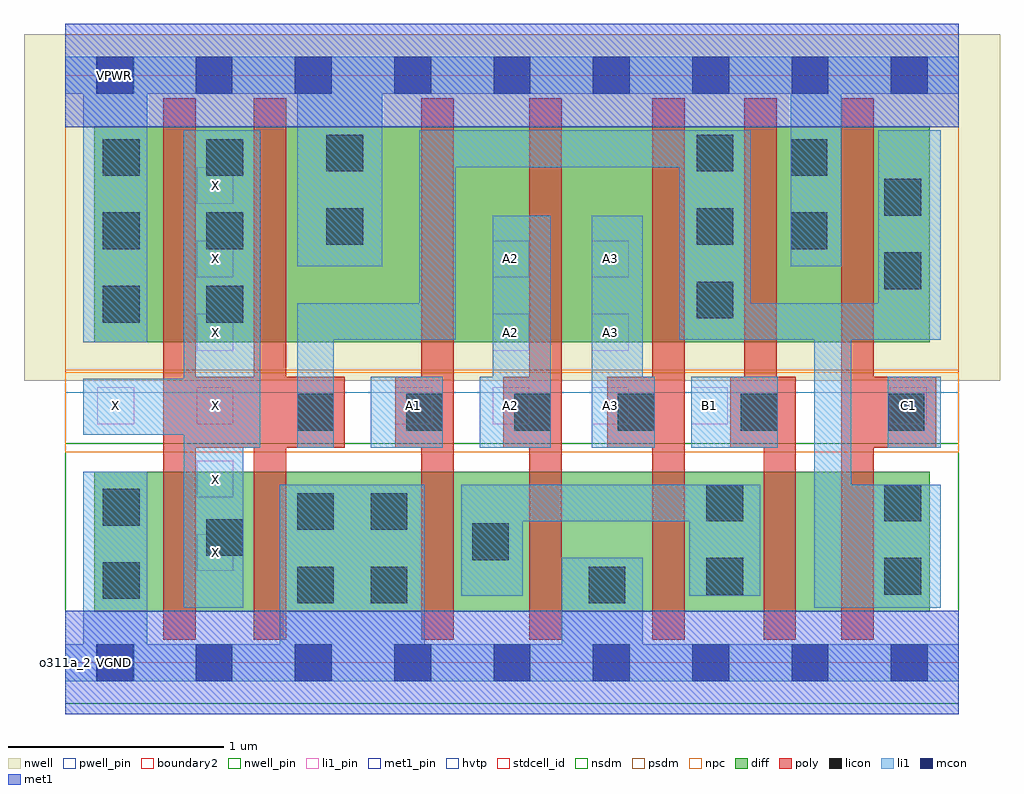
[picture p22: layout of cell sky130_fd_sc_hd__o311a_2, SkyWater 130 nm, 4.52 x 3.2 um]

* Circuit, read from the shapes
.subckt sky130_fd_sc_hd__o311a_2 A1 A2 A3 B1 C1 VGND VNB VPB VPWR X
XM1 X n1 VGND VNB sky130_fd_pr__nfet_01v8 w=0.65 l=0.15 m=2
XM2 n2 A1 VGND VNB sky130_fd_pr__nfet_01v8 w=0.65 l=0.15
XM3 VGND A2 n2 VNB sky130_fd_pr__nfet_01v8 w=0.65 l=0.15
XM4 n2 A3 VGND VNB sky130_fd_pr__nfet_01v8 w=0.65 l=0.15
XM5 n3 B1 n2 VNB sky130_fd_pr__nfet_01v8 w=0.65 l=0.15
XM6 n1 C1 n3 VNB sky130_fd_pr__nfet_01v8 w=0.65 l=0.15
XM7 X n1 VPWR VPB sky130_fd_pr__pfet_01v8_hvt w=1 l=0.15 m=2
XM8 n4 A1 VPWR VPB sky130_fd_pr__pfet_01v8_hvt w=1 l=0.15
XM9 n5 A2 n4 VPB sky130_fd_pr__pfet_01v8_hvt w=1 l=0.15
XM10 n1 A3 n5 VPB sky130_fd_pr__pfet_01v8_hvt w=1 l=0.15
XM11 VPWR B1 n1 VPB sky130_fd_pr__pfet_01v8_hvt w=1 l=0.15
XM12 n1 C1 VPWR VPB sky130_fd_pr__pfet_01v8_hvt w=1 l=0.15
.ends

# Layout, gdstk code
import gdstk
lib = gdstk.Library(unit=1e-6, precision=1e-09)
def R(c, l, rs):  # rectangles x0, y0, x1, y1
    for r in rs: c.add(gdstk.rectangle(r[:2], r[2:], *l))
def A(c, l, x, y, w, h, nx, ny, dx, dy):  # array of equal rectangles
    R(c, l, [(x+i*dx, y+j*dy, x+i*dx+w, y+j*dy+h) for i in range(nx) for j in range(ny)])
def P(c, l, *ps):  # polygons
    for p in ps: c.add(gdstk.Polygon(p, *l))
nwell_pin = (64, 16)
nwell = (64, 20)
diff = (65, 20)
poly = (66, 20)
licon = (66, 44)
li1_pin = (67, 16)
li1 = (67, 20)
mcon = (67, 44)
met1_pin = (68, 16)
met1 = (68, 20)
hvtp = (78, 44)
stdcell_id = (81, 4)
nsdm = (93, 44)
psdm = (94, 20)
npc = (95, 20)
pwell_pin = (122, 16)
boundary2 = (236, 0)

sky130_fd_sc_hd__o311a_2 = lib.new_cell('sky130_fd_sc_hd__o311a_2')
R(sky130_fd_sc_hd__o311a_2, nwell_pin, [(0.15,2.635,0.32,2.805)])
R(sky130_fd_sc_hd__o311a_2, nwell, [(-0.19,1.305,4.33,2.91)])
R(sky130_fd_sc_hd__o311a_2, diff, [(0.135,0.235,4.005,0.885), (0.135,1.485,4.005,2.485)])
P(sky130_fd_sc_hd__o311a_2, poly, [(1.295,1.325),(1.025,1.325),(1.025,2.615),(0.875,2.615),(0.875,1.325),(0.605,1.325),(0.605,2.615),(0.455,2.615),(0.455,0.105),(0.605,0.105),(0.605,0.995),(0.875,0.995),(0.875,0.105),(1.025,0.105),(1.025,0.995),(1.295,0.995)],
  [(1.8,2.615),(1.65,2.615),(1.65,1.325),(1.53,1.325),(1.53,0.995),(1.65,0.995),(1.65,0.105),(1.8,0.105)],
  [(2.3,2.615),(2.15,2.615),(2.15,1.325),(2.03,1.325),(2.03,0.995),(2.15,0.995),(2.15,0.105),(2.3,0.105)],
  [(2.87,2.615),(2.72,2.615),(2.72,1.325),(2.51,1.325),(2.51,0.995),(2.72,0.995),(2.72,0.105),(2.87,0.105)],
  [(3.385,1.325),(3.295,1.325),(3.295,2.615),(3.145,2.615),(3.145,1.325),(3.08,1.325),(3.08,0.995),(3.235,0.995),(3.235,0.105),(3.385,0.105)],
  [(4.035,1.325),(3.745,1.325),(3.745,2.615),(3.595,2.615),(3.595,0.105),(3.745,0.105),(3.745,0.995),(4.035,0.995)])
A(sky130_fd_sc_hd__o311a_2, licon, 0.175, 1.575, 0.17, 0.17, 1, 3, 0, 0.34)
A(sky130_fd_sc_hd__o311a_2, licon, 0.655, 1.575, 0.17, 0.17, 1, 3, 0, 0.34)
A(sky130_fd_sc_hd__o311a_2, licon, 2.925, 1.595, 0.17, 0.17, 1, 3, 0, 0.34)
R(sky130_fd_sc_hd__o311a_2, licon, [(1.075,0.275,1.245,0.445), (1.415,0.275,1.585,0.445), (2.425,0.275,2.595,0.445), (0.175,0.295,0.345,0.465), (2.97,0.315,3.14,0.485), (3.795,0.315,3.965,0.485), (1.885,0.475,2.055,0.645), (0.655,0.495,0.825,0.665), (1.075,0.615,1.245,0.785), (1.415,0.615,1.585,0.785), (0.175,0.635,0.345,0.805), (2.97,0.655,3.14,0.825), (3.795,0.655,3.965,0.825), (1.075,1.075,1.245,1.245), (1.58,1.075,1.75,1.245), (2.08,1.075,2.25,1.245), (2.56,1.075,2.73,1.245), (3.13,1.075,3.3,1.245), (3.81,1.075,3.98,1.245), (3.795,1.73,3.965,1.9), (3.36,1.915,3.53,2.085), (1.21,1.935,1.38,2.105), (3.795,2.07,3.965,2.24), (3.36,2.255,3.53,2.425), (1.21,2.275,1.38,2.445)])
A(sky130_fd_sc_hd__o311a_2, li1_pin, 0.61, 0.425, 0.17, 0.17, 1, 6, 0, 0.34)
A(sky130_fd_sc_hd__o311a_2, li1_pin, 1.98, 1.105, 0.17, 0.17, 3, 1, 0.46, 0)
R(sky130_fd_sc_hd__o311a_2, li1_pin, [(0.15,1.105,0.32,1.275), (1.53,1.105,1.7,1.275), (3.82,1.105,3.99,1.275), (1.98,1.445,2.15,1.615), (2.44,1.445,2.61,1.615), (1.98,1.785,2.15,1.955), (2.44,1.785,2.61,1.955)])
R(sky130_fd_sc_hd__o311a_2, li1, [(1.415,0.995,1.75,1.325), (2.9,0.995,3.3,1.325), (3.81,0.995,4.055,1.325)])
P(sky130_fd_sc_hd__o311a_2, li1, [(4.055,0.825),(3.64,0.825),(3.64,1.495),(4.055,1.495),(4.055,2.465),(3.765,2.465),(3.765,1.665),(3.175,1.665),(3.175,2.465),(1.64,2.465),(1.64,1.665),(1.075,1.665),(1.075,0.995),(1.245,0.995),(1.245,1.495),(1.81,1.495),(1.81,2.295),(2.845,2.295),(2.845,1.495),(3.47,1.495),(3.47,0.255),(4.055,0.255)],
  [(0.905,2.465),(0.55,2.465),(0.55,1.315),(0.085,1.315),(0.085,1.055),(0.55,1.055),(0.55,0.255),(0.825,0.255),(0.825,0.995),(0.905,0.995)],
  [(2.25,2.07),(1.98,2.07),(1.98,1.325),(1.92,1.325),(1.92,0.995),(2.25,0.995)],
  [(2.73,1.325),(2.675,1.325),(2.675,2.07),(2.44,2.07),(2.44,0.995),(2.73,0.995)],
  [(3.22,0.825),(1.835,0.825),(1.835,0.31),(2.12,0.31),(2.12,0.655),(2.89,0.655),(2.89,0.31),(3.22,0.31)],
  [(4.14,2.805),(0,2.805),(0,2.635),(0.085,2.635),(0.085,1.485),(0.38,1.485),(0.38,2.635),(1.075,2.635),(1.075,1.835),(1.47,1.835),(1.47,2.635),(3.36,2.635),(3.36,1.835),(3.595,1.835),(3.595,2.635),(4.14,2.635)],
  [(4.14,0.085),(2.675,0.085),(2.675,0.485),(2.3,0.485),(2.3,0.085),(1.665,0.085),(1.665,0.825),(0.995,0.825),(0.995,0.085),(0.38,0.085),(0.38,0.885),(0.085,0.885),(0.085,0.085),(0,0.085),(0,-0.085),(4.14,-0.085)])
A(sky130_fd_sc_hd__o311a_2, mcon, 0.145, -0.085, 0.17, 0.17, 9, 2, 0.46, 2.72)
R(sky130_fd_sc_hd__o311a_2, met1_pin, [(0.15,-0.085,0.32,0.085), (0.15,2.635,0.32,2.805)])
R(sky130_fd_sc_hd__o311a_2, hvtp, [(0,1.25,4.14,2.72)])
R(sky130_fd_sc_hd__o311a_2, stdcell_id, [(0,0,4.14,2.72)])
R(sky130_fd_sc_hd__o311a_2, nsdm, [(0,-0.19,4.14,1.015)])
R(sky130_fd_sc_hd__o311a_2, psdm, [(0,1.355,4.14,2.91)])
R(sky130_fd_sc_hd__o311a_2, npc, [(0,0.975,4.14,1.345)])
R(sky130_fd_sc_hd__o311a_2, pwell_pin, [(0.15,-0.085,0.32,0.085)])
R(sky130_fd_sc_hd__o311a_2, boundary2, [(0,0,4.14,2.72)])
sky130_fd_sc_hd__o311a_2.add(gdstk.FlexPath([(0,0),(4.14,0)], 0.48, ends="flush", simple_path=True, layer=68, datatype=20))  # met1
sky130_fd_sc_hd__o311a_2.add(gdstk.FlexPath([(0,2.72),(4.14,2.72)], 0.48, ends="flush", simple_path=True, layer=68, datatype=20))  # met1
sky130_fd_sc_hd__o311a_2.add(gdstk.Label('X', (0.695,1.87), layer=67, texttype=5))
sky130_fd_sc_hd__o311a_2.add(gdstk.Label('X', (0.695,2.21), layer=67, texttype=5))
sky130_fd_sc_hd__o311a_2.add(gdstk.Label('X', (0.695,0.85), layer=67, texttype=5))
sky130_fd_sc_hd__o311a_2.add(gdstk.Label('X', (0.695,0.51), layer=67, texttype=5))
sky130_fd_sc_hd__o311a_2.add(gdstk.Label('A2', (2.065,1.53), layer=67, texttype=5))
sky130_fd_sc_hd__o311a_2.add(gdstk.Label('A3', (2.525,1.53), layer=67, texttype=5))
sky130_fd_sc_hd__o311a_2.add(gdstk.Label('A3', (2.525,1.87), layer=67, texttype=5))
sky130_fd_sc_hd__o311a_2.add(gdstk.Label('A2', (2.065,1.87), layer=67, texttype=5))
sky130_fd_sc_hd__o311a_2.add(gdstk.Label('X', (0.695,1.19), layer=67, texttype=5))
sky130_fd_sc_hd__o311a_2.add(gdstk.Label('A1', (1.615,1.19), layer=67, texttype=5))
sky130_fd_sc_hd__o311a_2.add(gdstk.Label('A2', (2.065,1.19), layer=67, texttype=5))
sky130_fd_sc_hd__o311a_2.add(gdstk.Label('A3', (2.525,1.19), layer=67, texttype=5))
sky130_fd_sc_hd__o311a_2.add(gdstk.Label('B1', (2.985,1.19), layer=67, texttype=5))
sky130_fd_sc_hd__o311a_2.add(gdstk.Label('C1', (3.905,1.19), layer=67, texttype=5))
sky130_fd_sc_hd__o311a_2.add(gdstk.Label('X', (0.695,1.53), layer=67, texttype=5))
sky130_fd_sc_hd__o311a_2.add(gdstk.Label('X', (0.235,1.19), layer=67, texttype=5))
sky130_fd_sc_hd__o311a_2.add(gdstk.Label('VPWR', (0.23,2.72), layer=68, texttype=5))
sky130_fd_sc_hd__o311a_2.add(gdstk.Label('VGND', (0.23,0), layer=68, texttype=5))
sky130_fd_sc_hd__o311a_2.add(gdstk.Label('VPB', (0.23,2.72), layer=64, texttype=5))
sky130_fd_sc_hd__o311a_2.add(gdstk.Label('VNB', (0.23,0), layer=64, texttype=59))
sky130_fd_sc_hd__o311a_2.add(gdstk.Label('o311a_2', (0,0), layer=83, texttype=44))

lib.write_gds('sky130_fd_sc_hd__o311a_2.gds')
